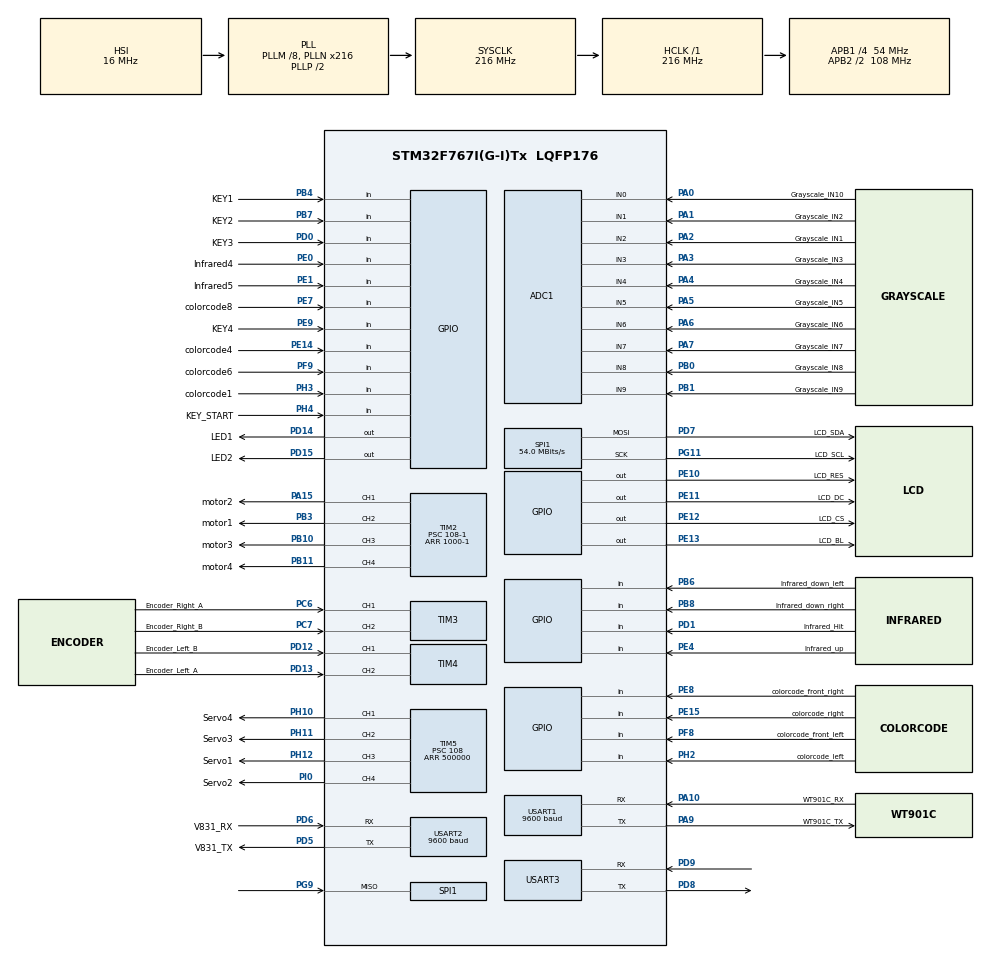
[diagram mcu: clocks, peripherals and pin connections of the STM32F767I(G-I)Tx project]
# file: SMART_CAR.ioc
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ADC1.Channel-0\#ChannelRegularConversion=ADC_CHANNEL_2
ADC1.Channel-1\#ChannelRegularConversion=ADC_CHANNEL_1
ADC1.Channel-10\#ChannelRegularConversion=ADC_CHANNEL_8
ADC1.Channel-11\#ChannelRegularConversion=ADC_CHANNEL_9
ADC1.Channel-12\#ChannelRegularConversion=ADC_CHANNEL_0
ADC1.Channel-2\#ChannelRegularConversion=ADC_CHANNEL_3
ADC1.Channel-3\#ChannelRegularConversion=ADC_CHANNEL_4
ADC1.Channel-4\#ChannelRegularConversion=ADC_CHANNEL_5
ADC1.Channel-5\#ChannelRegularConversion=ADC_CHANNEL_6
ADC1.Channel-6\#ChannelRegularConversion=ADC_CHANNEL_7
ADC1.ContinuousConvMode=ENABLE
ADC1.DMAContinuousRequests=ENABLE
ADC1.DiscontinuousConvMode=DISABLE
ADC1.NbrOfConversion=10
ADC1.NbrOfConversionFlag=1
ADC1.Rank-0\#ChannelRegularConversion=1
ADC1.Rank-1\#ChannelRegularConversion=2
ADC1.Rank-10\#ChannelRegularConversion=8
ADC1.Rank-11\#ChannelRegularConversion=9
ADC1.Rank-12\#ChannelRegularConversion=10
ADC1.Rank-2\#ChannelRegularConversion=3
ADC1.Rank-3\#ChannelRegularConversion=4
ADC1.Rank-4\#ChannelRegularConversion=5
ADC1.Rank-5\#ChannelRegularConversion=6
ADC1.Rank-6\#ChannelRegularConversion=7
ADC1.SamplingTime-0\#ChannelRegularConversion=ADC_SAMPLETIME_3CYCLES
ADC1.SamplingTime-1\#ChannelRegularConversion=ADC_SAMPLETIME_3CYCLES
ADC1.SamplingTime-10\#ChannelRegularConversion=ADC_SAMPLETIME_3CYCLES
ADC1.SamplingTime-11\#ChannelRegularConversion=ADC_SAMPLETIME_3CYCLES
ADC1.SamplingTime-12\#ChannelRegularConversion=ADC_SAMPLETIME_3CYCLES
ADC1.SamplingTime-2\#ChannelRegularConversion=ADC_SAMPLETIME_3CYCLES
ADC1.SamplingTime-3\#ChannelRegularConversion=ADC_SAMPLETIME_3CYCLES
ADC1.SamplingTime-4\#ChannelRegularConversion=ADC_SAMPLETIME_3CYCLES
ADC1.SamplingTime-5\#ChannelRegularConversion=ADC_SAMPLETIME_3CYCLES
ADC1.SamplingTime-6\#ChannelRegularConversion=ADC_SAMPLETIME_3CYCLES
ADC1.ScanConvMode=ADC_SCAN_ENABLE
ADC1.master=1
CORTEX_M7.default_mode_Activation=1
Dma.ADC1.0.Direction=DMA_PERIPH_TO_MEMORY
Dma.ADC1.0.FIFOMode=DMA_FIFOMODE_DISABLE
Dma.ADC1.0.Instance=DMA2_Stream0
Dma.ADC1.0.MemDataAlignment=DMA_MDATAALIGN_HALFWORD
Dma.ADC1.0.MemInc=DMA_MINC_ENABLE
Dma.ADC1.0.Mode=DMA_CIRCULAR
Dma.ADC1.0.PeriphDataAlignment=DMA_PDATAALIGN_HALFWORD
Dma.ADC1.0.PeriphInc=DMA_PINC_DISABLE
Dma.ADC1.0.Priority=DMA_PRIORITY_LOW
Dma.Request0=ADC1
FREERTOS.INCLUDE_xTaskGetCurrentTaskHandle=1
FREERTOS.Tasks01=defaultTask,24,128,StartDefaultTask,Default,NULL,Dynamic,NULL,NULL;LCD_Show,26,512,StartLCD_Show,Default,NULL,Dynamic,NULL,NULL;Robot_Run,40,1024,StartRobot_Run,Default,NULL,Dynamic,NULL,NULL;Hardware_Handle,31,512,StartHardware_Handle,Default,NULL,Dynamic,NULL,NULL
Mcu.Family=STM32F7
Mcu.Name=STM32F767I(G-I)Tx
Mcu.Package=LQFP176
NVIC.DMA2_Stream0_IRQn=true\:5\:0\:false\:false\:true\:true\:false\:true\:true
NVIC.PriorityGroup=NVIC_PRIORITYGROUP_4
NVIC.TIM1_UP_TIM10_IRQn=true\:15\:0\:true\:false\:true\:false\:false\:true\:true
NVIC.TIM3_IRQn=true\:5\:0\:false\:false\:true\:true\:true\:true\:true
NVIC.TIM4_IRQn=true\:5\:0\:false\:false\:true\:true\:true\:true\:true
NVIC.TIM5_IRQn=true\:5\:0\:false\:false\:true\:true\:true\:true\:true
NVIC.TimeBase=TIM1_UP_TIM10_IRQn
NVIC.TimeBaseIP=TIM1
NVIC.USART1_IRQn=true\:5\:0\:false\:false\:true\:true\:true\:true\:true
NVIC.USART2_IRQn=true\:5\:0\:false\:false\:true\:true\:true\:true\:true
PA0/WKUP.GPIO_Label=Grayscale_IN10
PA0/WKUP.GPIO_Mode=GPIO_MODE_ANALOG
PA0/WKUP.Signal=ADCx_IN0
PA1.GPIO_Label=Grayscale_IN2
PA1.Signal=ADCx_IN1
PA10.GPIO_Label=WT901C_RX
PA10.Mode=Asynchronous
PA10.Signal=USART1_RX
PA13.Mode=Serial_Wire
PA13.Signal=SYS_JTMS-SWDIO
PA14.Mode=Serial_Wire
PA14.Signal=SYS_JTCK-SWCLK
PA15.GPIO_Label=motor2
PA15.Signal=S_TIM2_CH1_ETR
PA2.GPIO_Label=Grayscale_IN1
PA2.Signal=ADCx_IN2
PA3.GPIO_Label=Grayscale_IN3
PA3.Signal=ADCx_IN3
PA4.GPIO_Label=Grayscale_IN4
PA4.Signal=ADCx_IN4
PA5.GPIO_Label=Grayscale_IN5
PA5.Signal=ADCx_IN5
PA6.GPIO_Label=Grayscale_IN6
PA6.Signal=ADCx_IN6
PA7.GPIO_Label=Grayscale_IN7
PA7.Signal=ADCx_IN7
PA9.GPIO_Label=WT901C_TX
PA9.Mode=Asynchronous
PA9.Signal=USART1_TX
PB0.GPIO_Label=Grayscale_IN8
PB0.Signal=ADCx_IN8
PB1.GPIO_Label=Grayscale_IN9
PB1.Signal=ADCx_IN9
PB10.GPIO_Label=motor3
PB10.Signal=S_TIM2_CH3
PB11.GPIO_Label=motor4
PB11.Signal=S_TIM2_CH4
PB3.GPIO_Label=motor1
PB3.Signal=S_TIM2_CH2
PB4.GPIO_Label=KEY1
PB4.GPIO_PuPd=GPIO_PULLUP
PB4.Signal=GPIO_Input
PB6.GPIO_Label=Infrared_down_left
PB6.GPIO_PuPd=GPIO_PULLUP
PB6.Signal=GPIO_Input
PB7.GPIO_Label=KEY2
PB7.GPIO_PuPd=GPIO_PULLUP
PB7.Signal=GPIO_Input
PB8.GPIO_Label=Infrared_down_right
PB8.GPIO_PuPd=GPIO_PULLUP
PB8.Signal=GPIO_Input
PC14/OSC32_IN.Mode=LSE-External-Oscillator
PC14/OSC32_IN.Signal=RCC_OSC32_IN
PC15/OSC32_OUT.Mode=LSE-External-Oscillator
PC15/OSC32_OUT.Signal=RCC_OSC32_OUT
PC6.GPIO_Label=Encoder_Right_A
PC6.Signal=S_TIM3_CH1
PC7.GPIO_Label=Encoder_Right_B
PC7.Signal=S_TIM3_CH2
PD0.GPIO_Label=KEY3
PD0.GPIO_PuPd=GPIO_PULLUP
PD0.Signal=GPIO_Input
PD1.GPIO_Label=Infrared_Hit
PD1.GPIO_PuPd=GPIO_PULLUP
PD1.Signal=GPIO_Input
PD12.GPIO_Label=Encoder_Left_B
PD12.Signal=S_TIM4_CH1
PD13.GPIO_Label=Encoder_Left_A
PD13.Signal=S_TIM4_CH2
PD14.GPIO_Label=LED1
PD14.GPIO_PuPd=GPIO_PULLUP
PD14.PinState=GPIO_PIN_RESET
PD14.Signal=GPIO_Output
PD15.GPIO_Label=LED2
PD15.GPIO_PuPd=GPIO_PULLUP
PD15.PinState=GPIO_PIN_RESET
PD15.Signal=GPIO_Output
PD5.GPIO_Label=V831_TX
PD5.Mode=Asynchronous
PD5.Signal=USART2_TX
PD6.GPIO_Label=V831_RX
PD6.Mode=Asynchronous
PD6.Signal=USART2_RX
PD7.GPIO_Label=LCD_SDA
PD7.Mode=Full_Duplex_Master
PD7.Signal=SPI1_MOSI
PD8.Mode=Asynchronous
PD8.Signal=USART3_TX
PD9.Mode=Asynchronous
PD9.Signal=USART3_RX
PE0.GPIO_Label=Infrared4
PE0.GPIO_PuPd=GPIO_PULLUP
PE0.Signal=GPIO_Input
PE1.GPIO_Label=Infrared5
PE1.GPIO_PuPd=GPIO_PULLUP
PE1.Signal=GPIO_Input
PE10.GPIO_Label=LCD_RES
PE10.GPIO_PuPd=GPIO_PULLUP
PE10.PinState=GPIO_PIN_SET
PE10.Signal=GPIO_Output
PE11.GPIO_Label=LCD_DC
PE11.GPIO_PuPd=GPIO_PULLUP
PE11.PinState=GPIO_PIN_SET
PE11.Signal=GPIO_Output
PE12.GPIO_Label=LCD_CS
PE12.GPIO_PuPd=GPIO_PULLUP
PE12.PinState=GPIO_PIN_SET
PE12.Signal=GPIO_Output
PE13.GPIO_Label=LCD_BL
PE13.GPIO_PuPd=GPIO_PULLUP
PE13.PinState=GPIO_PIN_SET
PE13.Signal=GPIO_Output
PE14.GPIO_Label=colorcode4
PE14.GPIO_PuPd=GPIO_PULLUP
PE14.Signal=GPIO_Input
PE15.GPIO_Label=colorcode_right
PE15.GPIO_PuPd=GPIO_PULLUP
PE15.Signal=GPIO_Input
PE4.GPIO_Label=Infrared_up
PE4.GPIO_PuPd=GPIO_PULLUP
PE4.Signal=GPIO_Input
PE7.GPIO_Label=colorcode8
PE7.GPIO_PuPd=GPIO_PULLUP
PE7.Signal=GPIO_Input
PE8.GPIO_Label=colorcode_front_right
PE8.GPIO_PuPd=GPIO_PULLUP
PE8.Signal=GPIO_Input
PE9.GPIO_Label=KEY4
PE9.GPIO_PuPd=GPIO_PULLUP
PE9.Signal=GPIO_Input
PF8.GPIO_Label=colorcode_front_left
PF8.GPIO_PuPd=GPIO_PULLUP
PF8.Signal=GPIO_Input
PF9.GPIO_Label=colorcode6
PF9.GPIO_PuPd=GPIO_PULLUP
PF9.Signal=GPIO_Input
PG11.GPIO_Label=LCD_SCL
PG11.Mode=Full_Duplex_Master
PG11.Signal=SPI1_SCK
PG9.Mode=Full_Duplex_Master
PG9.Signal=SPI1_MISO
PH0/OSC_IN.Mode=HSE-External-Oscillator
PH0/OSC_IN.Signal=RCC_OSC_IN
PH1/OSC_OUT.Mode=HSE-External-Oscillator
PH1/OSC_OUT.Signal=RCC_OSC_OUT
PH10.GPIO_Label=Servo4
PH10.Signal=S_TIM5_CH1
PH11.GPIO_Label=Servo3
PH11.Signal=S_TIM5_CH2
PH12.GPIO_Label=Servo1
PH12.Signal=S_TIM5_CH3
PH2.GPIO_Label=colorcode_left
PH2.GPIO_PuPd=GPIO_PULLUP
PH2.Signal=GPIO_Input
PH3.GPIO_Label=colorcode1
PH3.GPIO_PuPd=GPIO_PULLUP
PH3.Signal=GPIO_Input
PH4.GPIO_Label=KEY_START
PH4.GPIO_PuPd=GPIO_PULLUP
PH4.Signal=GPIO_Input
PI0.GPIO_Label=Servo2
PI0.Signal=S_TIM5_CH4
ProjectManager.HeapSize=0x200
ProjectManager.StackSize=0x400
ProjectManager.TargetToolchain=MDK-ARM V5
RCC.AHBFreq_Value=216000000
RCC.APB1CLKDivider=RCC_HCLK_DIV4
RCC.APB1Freq_Value=54000000
RCC.APB1TimFreq_Value=108000000
RCC.APB2CLKDivider=RCC_HCLK_DIV2
RCC.APB2Freq_Value=108000000
RCC.APB2TimFreq_Value=216000000
RCC.CortexFreq_Value=216000000
RCC.HCLKFreq_Value=216000000
RCC.HSE_VALUE=25000000
RCC.HSI_VALUE=16000000
RCC.PLLM=8
RCC.PLLN=216
RCC.SYSCLKFreq_VALUE=216000000
RCC.SYSCLKSource=RCC_SYSCLKSOURCE_PLLCLK
RCC.USBFreq_Value=216000000
RCC.VCOOutputFreq_Value=432000000
SH.ADCx_IN0.0=ADC1_IN0,IN0
SH.ADCx_IN1.0=ADC1_IN1,IN1
SH.ADCx_IN2.0=ADC1_IN2,IN2
SH.ADCx_IN3.0=ADC1_IN3,IN3
SH.ADCx_IN4.0=ADC1_IN4,IN4
SH.ADCx_IN5.0=ADC1_IN5,IN5
SH.ADCx_IN6.0=ADC1_IN6,IN6
SH.ADCx_IN7.0=ADC1_IN7,IN7
SH.ADCx_IN8.0=ADC1_IN8,IN8
SH.ADCx_IN9.0=ADC1_IN9,IN9
SH.S_TIM2_CH1_ETR.0=TIM2_CH1,PWM Generation1 CH1
SH.S_TIM2_CH2.0=TIM2_CH2,PWM Generation2 CH2
SH.S_TIM2_CH3.0=TIM2_CH3,PWM Generation3 CH3
SH.S_TIM2_CH4.0=TIM2_CH4,PWM Generation4 CH4
SH.S_TIM3_CH1.0=TIM3_CH1,Encoder_Interface
SH.S_TIM3_CH2.0=TIM3_CH2,Encoder_Interface
SH.S_TIM4_CH1.0=TIM4_CH1,Encoder_Interface
SH.S_TIM4_CH2.0=TIM4_CH2,Encoder_Interface
SH.S_TIM5_CH1.0=TIM5_CH1,PWM Generation1 CH1
SH.S_TIM5_CH2.0=TIM5_CH2,PWM Generation2 CH2
SH.S_TIM5_CH3.0=TIM5_CH3,PWM Generation3 CH3
SH.S_TIM5_CH4.0=TIM5_CH4,Output Compare4 CH4
SPI1.BaudRatePrescaler=SPI_BAUDRATEPRESCALER_2
SPI1.CalculateBaudRate=54.0 MBits/s
SPI1.DataSize=SPI_DATASIZE_8BIT
SPI1.Direction=SPI_DIRECTION_2LINES
SPI1.Mode=SPI_MODE_MASTER
SPI1.VirtualType=VM_MASTER
TIM2.AutoReloadPreload=TIM_AUTORELOAD_PRELOAD_ENABLE
TIM2.Channel-PWM\ Generation1\ CH1=TIM_CHANNEL_1
TIM2.Channel-PWM\ Generation2\ CH2=TIM_CHANNEL_2
TIM2.Channel-PWM\ Generation3\ CH3=TIM_CHANNEL_3
TIM2.Channel-PWM\ Generation4\ CH4=TIM_CHANNEL_4
TIM2.Period=1000-1
TIM2.Prescaler=108-1
TIM3.AutoReloadPreload=TIM_AUTORELOAD_PRELOAD_ENABLE
TIM3.CounterMode=TIM_COUNTERMODE_UP
TIM3.EncoderMode=TIM_ENCODERMODE_TI12
TIM3.IC2Polarity=TIM_ICPOLARITY_FALLING
TIM4.AutoReloadPreload=TIM_AUTORELOAD_PRELOAD_ENABLE
TIM4.CounterMode=TIM_COUNTERMODE_UP
TIM4.EncoderMode=TIM_ENCODERMODE_TI12
TIM4.IC2Polarity=TIM_ICPOLARITY_FALLING
TIM5.Channel-Output\ Compare4\ CH4=TIM_CHANNEL_4
TIM5.Channel-PWM\ Generation1\ CH1=TIM_CHANNEL_1
TIM5.Channel-PWM\ Generation2\ CH2=TIM_CHANNEL_2
TIM5.Channel-PWM\ Generation3\ CH3=TIM_CHANNEL_3
TIM5.Period=500000
TIM5.Prescaler=108
USART1.BaudRate=9600
USART1.DMADisableonRxErrorParam=ADVFEATURE_DMA_ENABLEONRXERROR
USART1.VirtualMode-Asynchronous=VM_ASYNC
USART2.BaudRate=9600
USART2.VirtualMode-Asynchronous=VM_ASYNC
USART3.VirtualMode-Asynchronous=VM_ASYNC
VP_FREERTOS_VS_CMSIS_V2.Mode=CMSIS_V2
VP_SYS_VS_tim1.Mode=TIM1
VP_TIM2_VS_ClockSourceINT.Mode=Internal
VP_TIM5_VS_ClockSourceINT.Mode=Internal
board=custom

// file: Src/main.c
/* USER CODE BEGIN Header */
/**
  ******************************************************************************
  * @file           : main.c
  * @brief          : Main program body
  ******************************************************************************
  * @attention
  *
  * Copyright (c) 2025 STMicroelectronics.
  * All rights reserved.
  *
  * This software is licensed under terms that can be found in the LICENSE file
  * in the root directory of this software component.
  * If no LICENSE file comes with this software, it is provided AS-IS.
  *
  ******************************************************************************
  */
/* USER CODE END Header */
#include "main.h"
#include "cmsis_os.h"
#include "adc.h"
#include "dma.h"
#include "spi.h"
#include "tim.h"
#include "usart.h"
#include "gpio.h"

/* USER CODE BEGIN Includes */
#include "pack.h"
/* USER CODE END Includes */

/* USER CODE BEGIN PTD */
typedef enum //串口接收状态标志位
{
	WAIT_HEAD1,//等待帧头0x55
	WAIT_HEAD2,//等待帧头0x53
	WAIT_DATA,//帧头接收完成等待数据
	DATA_OK//数据接收完成
}UART_RxFlag;

uint8_t NoTraffic_Times;//摄像头串口接收到禁行信号次数，连续接收到3次为有效禁行
/* USER CODE END PTD */

/* USER CODE BEGIN PD */
UART_RxFlag GyroscopeRxFlag = WAIT_HEAD1;//姿态传感器串口接收状态
/* USER CODE END PD */

/* USER CODE BEGIN PM */
extern struct Sflag flag;
extern struct Slocation loc;
/* USER CODE END PM */

void SystemClock_Config(void);
static void MPU_Config(void);
void MX_FREERTOS_Init(void);

int main(void)
{

  /* MPU Configuration--------------------------------------------------------*/
  MPU_Config();

  /* MCU Configuration--------------------------------------------------------*/

  /* Reset of all peripherals, Initializes the Flash interface and the Systick. */
  HAL_Init();

  /* Configure the system clock */
  SystemClock_Config();

  /* Initialize all configured peripherals */
  MX_GPIO_Init();
  MX_DMA_Init();
  MX_TIM3_Init();
  MX_TIM4_Init();
  MX_ADC1_Init();
  MX_USART1_UART_Init();
  MX_USART2_UART_Init();
  MX_SPI1_Init();
  MX_TIM5_Init();
  MX_TIM2_Init();
  MX_USART3_UART_Init();
  /* USER CODE BEGIN 2 */
  Pack_Init();
  /* USER CODE END 2 */

  /* Init scheduler */
  osKernelInitialize();

  /* Call init function for freertos objects (in cmsis_os2.c) */
  MX_FREERTOS_Init();

  /* Start scheduler */
  osKernelStart();

  /* We should never get here as control is now taken by the scheduler */

  /* Infinite loop */
  while (1)
  {

  }
}

void SystemClock_Config(void)
{
  RCC_OscInitTypeDef RCC_OscInitStruct = {0};
  RCC_ClkInitTypeDef RCC_ClkInitStruct = {0};

  /** Configure LSE Drive Capability
  */
  HAL_PWR_EnableBkUpAccess();

  /** Configure the main internal regulator output voltage
  */
  __HAL_RCC_PWR_CLK_ENABLE();
  __HAL_PWR_VOLTAGESCALING_CONFIG(PWR_REGULATOR_VOLTAGE_SCALE1);

  /** Initializes the RCC Oscillators according to the specified parameters
  * in the RCC_OscInitTypeDef structure.
  */
  RCC_OscInitStruct.OscillatorType = RCC_OSCILLATORTYPE_HSI;
  RCC_OscInitStruct.HSIState = RCC_HSI_ON;
  RCC_OscInitStruct.HSICalibrationValue = RCC_HSICALIBRATION_DEFAULT;
  RCC_OscInitStruct.PLL.PLLState = RCC_PLL_ON;
  RCC_OscInitStruct.PLL.PLLSource = RCC_PLLSOURCE_HSI;
  RCC_OscInitStruct.PLL.PLLM = 8;
  RCC_OscInitStruct.PLL.PLLN = 216;
  RCC_OscInitStruct.PLL.PLLP = RCC_PLLP_DIV2;
  RCC_OscInitStruct.PLL.PLLQ = 2;
  RCC_OscInitStruct.PLL.PLLR = 2;
  if (HAL_RCC_OscConfig(&RCC_OscInitStruct) != HAL_OK)
  {
    Error_Handler();
  }

  /** Activate the Over-Drive mode
  */
  if (HAL_PWREx_EnableOverDrive() != HAL_OK)
  {
    Error_Handler();
  }

  /** Initializes the CPU, AHB and APB buses clocks
  */
  RCC_ClkInitStruct.ClockType = RCC_CLOCKTYPE_HCLK|RCC_CLOCKTYPE_SYSCLK
                              |RCC_CLOCKTYPE_PCLK1|RCC_CLOCKTYPE_PCLK2;
  RCC_ClkInitStruct.SYSCLKSource = RCC_SYSCLKSOURCE_PLLCLK;
  RCC_ClkInitStruct.AHBCLKDivider = RCC_SYSCLK_DIV1;
  RCC_ClkInitStruct.APB1CLKDivider = RCC_HCLK_DIV4;
  RCC_ClkInitStruct.APB2CLKDivider = RCC_HCLK_DIV2;

  if (HAL_RCC_ClockConfig(&RCC_ClkInitStruct, FLASH_LATENCY_7) != HAL_OK)
  {
    Error_Handler();
  }
}

/* USER CODE BEGIN 4 */
/*串口接收中断回调函数，处理陀螺仪及摄像头数据*/
void HAL_UART_RxCpltCallback(UART_HandleTypeDef *huart)
{
	if (huart == &huart1)
	{
		switch(GyroscopeRxFlag)
		{
			case WAIT_HEAD1:
			{
				if(GyrRxHeadBuffer[0]==0x55)
				{
					GyroscopeRxFlag=WAIT_HEAD2;
					HAL_UART_Receive_IT(&huart1,GyrRxHeadBuffer,1);
				}else{
					HAL_UART_Receive_IT(&huart1,GyrRxHeadBuffer,1);
				}
				break ;
			}
			case WAIT_HEAD2:
			{
				if(GyrRxHeadBuffer[0]==0x53)
				{
					GyroscopeRxFlag=WAIT_DATA;
					HAL_UART_Receive_IT(&huart1,GyrRxDataBuffer,9);
				}else{
					GyroscopeRxFlag=WAIT_HEAD1;
					HAL_UART_Receive_IT(&huart1,GyrRxHeadBuffer,1);
				}
				break ;
			}
			case WAIT_DATA:
			{
				GyroscopeRxFlag=WAIT_HEAD1;
				HAL_UART_Receive_IT(&huart1,GyrRxHeadBuffer,1);
				break ;
			}
			default:
			{
				HAL_UART_Receive_IT(&huart1,GyrRxHeadBuffer,1);
				break ;
			}
		}
	}
	if(huart == &huart2)
	{
		if(CameraRxBuffer[0]=='1')
		{
			if(flag.Direction == 0)//探险
			{
				flag.Go_doorClose[loc.door] = 1;
			}
			else if(flag.Direction == 1){//回家
				flag.Back_doorClose[loc.door] = 1;
			}
		}else{
			char str[63]={0};
			sprintf(str,"Camera init success");
	        LCD_ShowString(8,32,(u8 *)str,RED,WHITE,12,0);
		}
		HAL_UART_Receive_IT(&huart2,CameraRxBuffer,1);
		HAL_UART_Receive_IT(&huart1,GyrRxHeadBuffer,1);
	}
}
/* USER CODE END 4 */

 /* MPU Configuration */

void MPU_Config(void)
{
  MPU_Region_InitTypeDef MPU_InitStruct = {0};

  /* Disables the MPU */
  HAL_MPU_Disable();

  /** Initializes and configures the Region and the memory to be protected
  */
  MPU_InitStruct.Enable = MPU_REGION_ENABLE;
  MPU_InitStruct.Number = MPU_REGION_NUMBER0;
  MPU_InitStruct.BaseAddress = 0x0;
  MPU_InitStruct.Size = MPU_REGION_SIZE_4GB;
  MPU_InitStruct.SubRegionDisable = 0x87;
  MPU_InitStruct.TypeExtField = MPU_TEX_LEVEL0;
  MPU_InitStruct.AccessPermission = MPU_REGION_NO_ACCESS;
  MPU_InitStruct.DisableExec = MPU_INSTRUCTION_ACCESS_DISABLE;
  MPU_InitStruct.IsShareable = MPU_ACCESS_SHAREABLE;
  MPU_InitStruct.IsCacheable = MPU_ACCESS_NOT_CACHEABLE;
  MPU_InitStruct.IsBufferable = MPU_ACCESS_NOT_BUFFERABLE;

  HAL_MPU_ConfigRegion(&MPU_InitStruct);
  /* Enables the MPU */
  HAL_MPU_Enable(MPU_PRIVILEGED_DEFAULT);

}

void HAL_TIM_PeriodElapsedCallback(TIM_HandleTypeDef *htim)
{
  if (htim->Instance == TIM1)
  {
    HAL_IncTick();
  }
  /* USER CODE BEGIN Callback 1 */

  /* 发生了一次更新中断，判断是下溢还是上溢*/
  if(htim == &htim3)
  {
	  if(__HAL_TIM_IS_TIM_COUNTING_DOWN(&htim3))/*判断TIM3是否在向下计数，为真则是在向下计数，为假是在向上计数*/
	  {
	  	 Encoder_Left_Overflow_Count--;//反转过程中溢出
	  }
	  else
	  {
	  	 Encoder_Left_Overflow_Count++;//正转过程中溢出
	  }
  }
  if(htim == &htim4)
  {
	  if(__HAL_TIM_IS_TIM_COUNTING_DOWN(&htim4))
	  {
		  Encoder_Right_Overflow_Count--;
	  }
	  else
	  {
		  Encoder_Right_Overflow_Count++;
	  }
  }
  /* USER CODE END Callback 1 */
}

void Error_Handler(void)
{
  /* USER CODE BEGIN Error_Handler_Debug */
  /* User can add his own implementation to report the HAL error return state */
  __disable_irq();
  while (1)
  {
	  break;
  }
  /* USER CODE END Error_Handler_Debug */
}

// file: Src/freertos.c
/* USER CODE BEGIN Header */
/**
  ******************************************************************************
  * File Name          : freertos.c
  * Description        : Code for freertos applications
  ******************************************************************************
  * @attention
  *
  * Copyright (c) 2025 STMicroelectronics.
  * All rights reserved.
  *
  * This software is licensed under terms that can be found in the LICENSE file
  * in the root directory of this software component.
  * If no LICENSE file comes with this software, it is provided AS-IS.
  *
  ******************************************************************************
  */
/* USER CODE END Header */

#include "FreeRTOS.h"
#include "task.h"
#include "main.h"
#include "cmsis_os.h"

/* USER CODE BEGIN Includes */
#include "pack.h"
#include "test.h"
/* USER CODE END Includes */

/* Definitions for defaultTask */
osThreadId_t defaultTaskHandle;
const osThreadAttr_t defaultTask_attributes = {
  .name = "defaultTask",
  .stack_size = 128 * 4,
  .priority = (osPriority_t) osPriorityNormal,
};
/* Definitions for LCD_Show */
osThreadId_t LCD_ShowHandle;
const osThreadAttr_t LCD_Show_attributes = {
  .name = "LCD_Show",
  .stack_size = 512 * 4,
  .priority = (osPriority_t) osPriorityNormal2,
};
/* Definitions for Robot_Run */
osThreadId_t Robot_RunHandle;
const osThreadAttr_t Robot_Run_attributes = {
  .name = "Robot_Run",
  .stack_size = 1024 * 4,
  .priority = (osPriority_t) osPriorityHigh,
};
/* Definitions for Hardware_Handle */
osThreadId_t Hardware_HandleHandle;
const osThreadAttr_t Hardware_Handle_attributes = {
  .name = "Hardware_Handle",
  .stack_size = 512 * 4,
  .priority = (osPriority_t) osPriorityNormal7,
};

void StartDefaultTask(void *argument);
void StartLCD_Show(void *argument);
void StartRobot_Run(void *argument);
void StartHardware_Handle(void *argument);

void MX_FREERTOS_Init(void); /* (MISRA C 2004 rule 8.1) */

void MX_FREERTOS_Init(void) {

  /* Create the thread(s) */
  /* creation of defaultTask */
  defaultTaskHandle = osThreadNew(StartDefaultTask, NULL, &defaultTask_attributes);

  /* creation of LCD_Show */
  LCD_ShowHandle = osThreadNew(StartLCD_Show, NULL, &LCD_Show_attributes);

  /* creation of Robot_Run */
  Robot_RunHandle = osThreadNew(StartRobot_Run, NULL, &Robot_Run_attributes);

  /* creation of Hardware_Handle */
  Hardware_HandleHandle = osThreadNew(StartHardware_Handle, NULL, &Hardware_Handle_attributes);

}

void StartDefaultTask(void *argument)
{
  for(;;)
  {
    osDelay(1);
  }
}

void StartLCD_Show(void *argument)
{
  /* USER CODE BEGIN StartLCD_Show */
  /* Infinite loop */
  for(;;)
  {
//	LCD_Show();
    osDelay(1);
  }
  /* USER CODE END StartLCD_Show */
}

void StartRobot_Run(void *argument)
{
  /* USER CODE BEGIN StartRobot_Run */
  /* Infinite loop */
  for(;;)
  {
	PatrolLineTest();
    osDelay(1);
  }
  /* USER CODE END StartRobot_Run */
}

void StartHardware_Handle(void *argument)
{
  /* USER CODE BEGIN StartHardware_Handle */
  /* Infinite loop */
  for(;;)
  {
	__Hardware_Handler();
    osDelay(2);
  }
  /* USER CODE END StartHardware_Handle */
}
